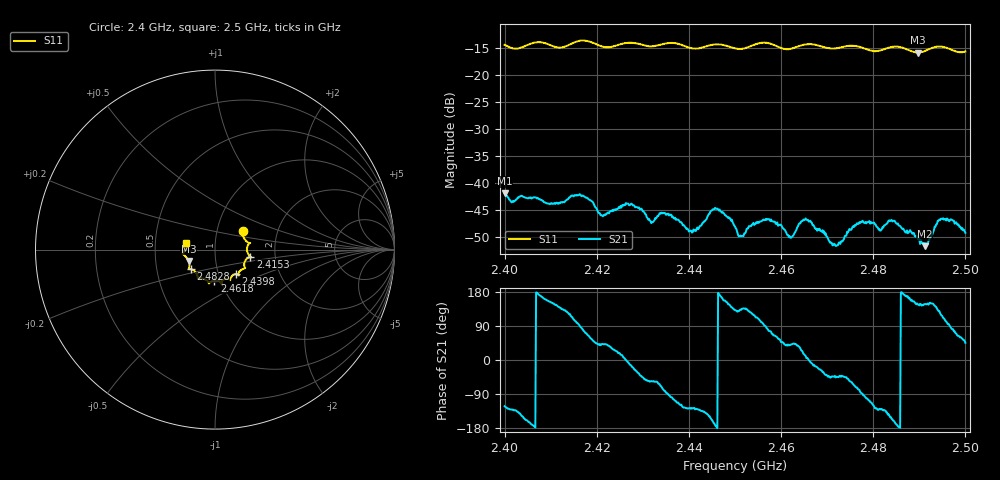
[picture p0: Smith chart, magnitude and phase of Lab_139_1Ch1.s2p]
# Hz S RI R 50
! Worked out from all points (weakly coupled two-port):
!   601 points, 2.4 GHz to 2.5 GHz, reference 50 ohm
!   highest |S21| = -41.92 dB at 2.4 GHz (marker M1); lowest = -51.7 dB at 2.4912 GHz (marker M2)
!   lowest |S11| = -15.9 dB at 2.4897 GHz (marker M3), VSWR 1.38, Z = 36.9 - j4.83 ohm
!   |S11| at or under -10 dB: start of sweep to end of sweep
!   S12 and S22 are empty: the file has one direction only
!   S11 on the Smith chart (normalised r, x): 2.4 GHz: 1.33, +0.29; 2.4153 GHz: 1.48, -0.12; 2.4398 GHz: 1.21, -0.34; 2.4618 GHz: 0.94, -0.33; 2.4828 GHz: 0.74, -0.17; 2.5 GHz: 0.72, +0.06
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2.4e9  0.1556 0.1064  -0.00423 -0.00681  0 0  0 0
2.41e9  0.1852 0.0265  -0.00574 0.00295  0 0  0 0
2.415333e9  0.1963 -0.0389  -0.00169 0.0075  0 0  0 0
2.416667e9  0.2022 -0.0428  0.000622 0.00752  0 0  0 0
2.421167e9  0.1738 -0.0546  0.0037 0.00336  0 0  0 0
2.426833e9  0.1683 -0.1025  0.00638 -0.000791  0 0  0 0
2.433333e9  0.131 -0.1335  0.00231 -0.00437  0 0  0 0
2.439833e9  0.1158 -0.1361  -0.00227 -0.00292  0 0  0 0
2.445667e9  0.0845 -0.1704  -0.00581 -0.000883  0 0  0 0
2.45e9  0.0654 -0.1626  -0.00263 0.00295  0 0  0 0
2.451333e9  0.0505 -0.1654  -0.00217 0.00237  0 0  0 0
2.457333e9  0.0391 -0.1916  0.00107 0.00451  0 0  0 0
2.461833e9  -0.00319 -0.1725  0.0025 0.00204  0 0  0 0
2.466667e9  -0.0345 -0.188  0.00425 -0.000672  0 0  0 0
2.471667e9  -0.066 -0.1619  0.00201 -0.00181  0 0  0 0
2.477167e9  -0.0965 -0.1521  0.000454 -0.00425  0 0  0 0
2.482833e9  -0.1363 -0.1091  -0.00309 -0.00281  0 0  0 0
2.483333e9  -0.1402 -0.1088  -0.00357 -0.00272  0 0  0 0
2.489667e9  -0.1468 -0.0637  -0.00254 0.00167  0 0  0 0
2.491167e9  -0.1591 -0.0431  -0.0022 0.0014  0 0  0 0
2.494667e9  -0.1805 -0.0207  -0.00235 0.00404  0 0  0 0
2.5e9  -0.1592 0.0386  0.00243 0.00247  0 0  0 0
